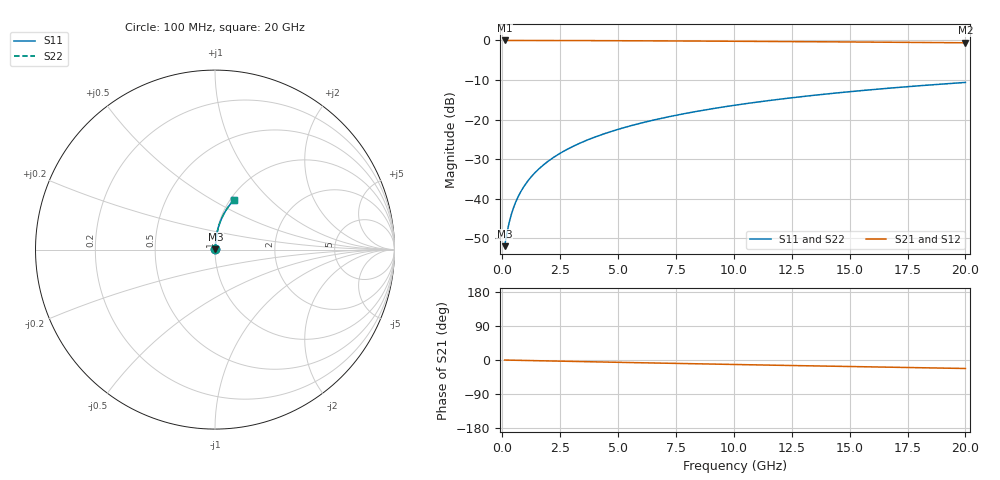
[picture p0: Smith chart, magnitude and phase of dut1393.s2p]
! Touchstone file exported from HFSS 2024.1.0
!  File:  C:/UserFiles/LocalFiles/RDL_TSV_Batchsim/temp_RDL_bottom_1393_1780372143.aedt
!  Generated:  11:52:02 AM Jun  2, 2026
!  Design:  RDL_bottom
!  Project:  temp_RDL_bottom_1393_1780372143
!  Setup:  Setup1
!  Solution:  Sweep
! Variables:
!  dtsv = 10.80580581um
!  hbump = 3um
!  htsv = 54.19um
!  ldown = 234.79um
!  lrdl = 100um
!  p = 40
!  p1 = 54.98um
!  rhole = 1um
!  t = 450um
!  tdown = 3.54um
!  trdl = 3.915915916um
!  wdown = 12.81um
!  wrdl = 20um
# GHz S MA R 50.000000
! Terminal data exported
! Port[1] = RDL1_T1
! Port[2] = RDL1_T2
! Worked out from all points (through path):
!   200 points, 100 MHz to 20 GHz, reference 50 ohm
!   highest |S21| = -0.02 dB at 100 MHz (marker M1); lowest = -0.6 dB at 20 GHz (marker M2)
!   group delay of S21, straight-line fit = 3.1 ps
!   lowest |S11| = -52.0 dB at 100 MHz (marker M3), VSWR 1.01, Z = 50.2 + j0.155 ohm
!   |S11| at or under -10 dB: start of sweep to end of sweep
!   |S22| runs from -52.0 to -10.6 dB; largest |S21 - S12| = 3.1e-15
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0.1  0.002511 37.9  0.998 -0.1  0.998 -0.1  0.002511 37.9
! Gamma 0 0 0 0
! Port Impedance 50 0 50 0
0.2  0.003675 56.8  0.998 -0.3  0.998 -0.3  0.003675 56.8
0.3  0.005033 65.9  0.9979 -0.4  0.9979 -0.4  0.005033 65.9
0.4  0.006452 70.9  0.9979 -0.5  0.9979 -0.5  0.006452 70.9
0.5  0.007894 74.1  0.9978 -0.6  0.9978 -0.6  0.007894 74.1
0.6  0.009347 76.3  0.9978 -0.8  0.9978 -0.8  0.009347 76.3
0.8  0.01227 79.1  0.9976 -1.0  0.9976 -1.0  0.01227 79.1
1.1  0.01668 81.5  0.9974 -1.4  0.9974 -1.4  0.01668 81.5
1.5  0.0226 83.1  0.9971 -1.9  0.9971 -1.9  0.0226 83.1
1.8  0.02705 83.8  0.9968 -2.2  0.9968 -2.2  0.02705 83.8
2.1  0.03152 84.2  0.9964 -2.6  0.9964 -2.6  0.03152 84.2
2.7  0.04048 84.6  0.9956 -3.3  0.9956 -3.3  0.04048 84.6
3.5  0.05249 84.6  0.9942 -4.3  0.9942 -4.3  0.05249 84.6
4.2  0.06304 84.4  0.9927 -5.2  0.9927 -5.2  0.06304 84.4
5  0.07514 84.0  0.9908 -6.1  0.9908 -6.1  0.07514 84.0
5.9  0.0888 83.4  0.9885 -7.2  0.9885 -7.2  0.0888 83.4
6.8  0.1025 82.7  0.9858 -8.2  0.9858 -8.2  0.1025 82.7
8.3  0.1253 81.4  0.9811 -9.9  0.9811 -9.9  0.1253 81.4
10.1  0.1525 79.6  0.9748 -11.9  0.9748 -11.9  0.1525 79.6
13.4  0.2016 76.2  0.9622 -15.5  0.9622 -15.5  0.2016 76.2
16.7  0.2489 72.8  0.9481 -19.0  0.9481 -19.0  0.2489 72.8
20  0.2941 69.3  0.9329 -22.4  0.9329 -22.4  0.2941 69.3
